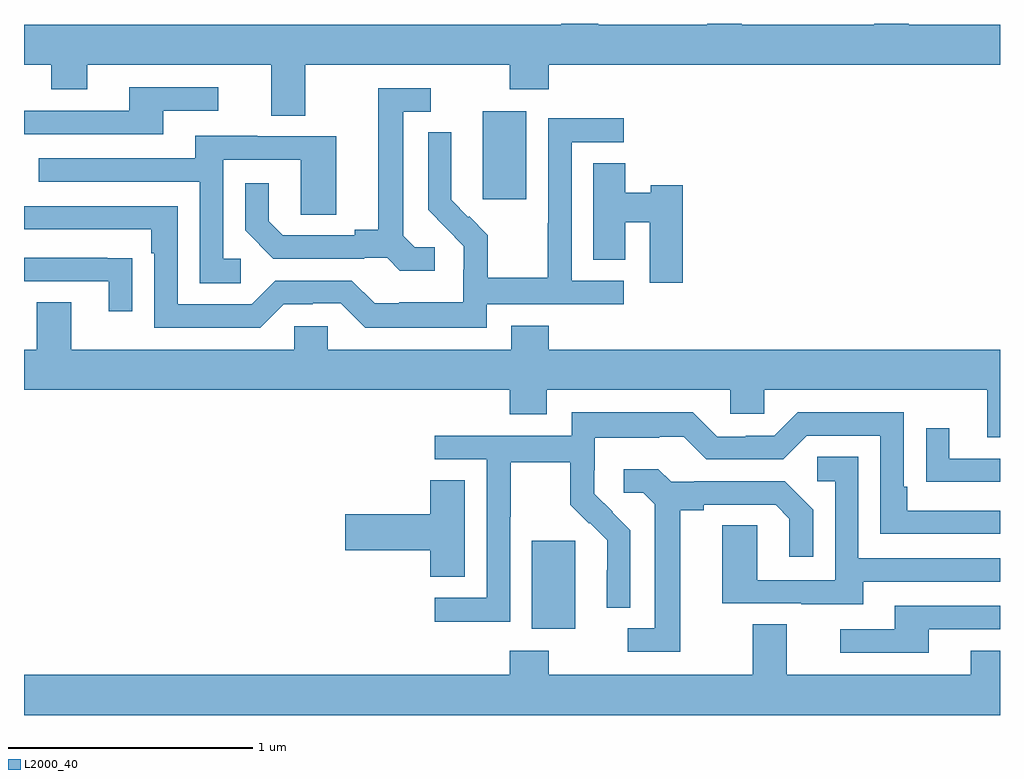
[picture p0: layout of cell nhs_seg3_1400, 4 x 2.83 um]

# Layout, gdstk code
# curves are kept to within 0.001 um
import gdstk
lib = gdstk.Library(unit=1e-6, precision=1e-09)
def R(c, l, rs):  # rectangles x0, y0, x1, y1
    for r in rs: c.add(gdstk.rectangle(r[:2], r[2:], *l))
def P(c, l, *ps):  # polygons
    for p in ps: c.add(gdstk.Polygon(p, *l))
L2000_40 = (2000, 40)

nhs_seg3_1400 = lib.new_cell('nhs_seg3_1400')
R(nhs_seg3_1400, L2000_40, [(185.081,715.922,185.26,716.283), (184.88,717.681,185.059,718.042)])
P(nhs_seg3_1400, L2000_40, [(184.153,718.232),(184.99,718.232),(184.99,718.133),(185.15,718.133),(185.15,718.232),(187,718.232),(187,718.396),(186.625,718.396),(186.625,718.4),(186.485,718.4),(186.485,718.396),(185.941,718.396),(185.941,718.4),(185.801,718.4),(185.801,718.396),(185.353,718.396),(185.353,718.4),(185.201,718.4),(185.201,718.396),(183,718.396),(183,718.232),(183.112,718.232),(183.112,718.133),(183.259,718.133),(183.259,718.232),(184.013,718.232),(184.013,718.024),(184.153,718.024)],
  [(183.571,718.044),(183.796,718.044),(183.796,718.14),(183.431,718.14),(183.431,718.044),(183,718.044),(183,717.948),(183.571,717.948)],
  [(184.684,717.486),(184.602,717.486),(184.555,717.533),(184.555,718.041),(184.666,718.041),(184.666,718.137),(184.451,718.137),(184.451,717.557),(184.355,717.557),(184.355,717.534),(184.06,717.534),(184.003,717.591),(184.003,717.748),(183.906,717.748),(183.906,717.554),(184.022,717.438),(184.394,717.438),(184.394,717.441),(184.488,717.441),(184.54,717.389),(184.684,717.389)],
  [(184.896,717.252),(185.458,717.252),(185.458,717.348),(185.244,717.348),(185.244,717.915),(185.458,717.915),(185.458,718.014),(185.148,718.014),(185.148,717.584),(185.146,717.584),(185.146,717.361),(184.901,717.361),(184.901,717.535),(184.824,717.612),(184.821,717.609),(184.751,717.68),(184.752,717.956),(184.656,717.956),(184.656,717.638),(184.802,717.49),(184.802,717.393),(184.8,717.393),(184.8,717.259),(184.537,717.259),(184.537,717.255),(184.437,717.255),(184.344,717.348),(184.029,717.348),(183.933,717.252),(183.63,717.252),(183.63,717.654),(183,717.654),(183,717.558),(183.521,717.558),(183.521,717.461),(183.534,717.461),(183.534,717.156),(183.969,717.156),(184.065,717.252),(184.184,717.252),(184.184,717.255),(184.299,717.255),(184.399,717.155),(184.896,717.155)],
  [(183.889,717.438),(183.816,717.438),(183.816,717.843),(184.134,717.843),(184.134,717.619),(184.279,717.619),(184.279,717.939),(183.955,717.939),(183.955,717.943),(183.701,717.943),(183.701,717.849),(183.061,717.849),(183.061,717.753),(183.72,717.753),(183.72,717.337),(183.889,717.337)],
  [(185.699,717.74),(185.568,717.74),(185.568,717.709),(185.464,717.709),(185.464,717.83),(185.333,717.83),(185.333,717.433),(185.464,717.433),(185.464,717.587),(185.564,717.587),(185.564,717.339),(185.699,717.339)],
  [(183.443,717.44),(183.341,717.44),(183.341,717.441),(183,717.441),(183,717.345),(183.347,717.345),(183.347,717.222),(183.443,717.222)],
  [(187,717.064),(185.15,717.064),(185.15,717.163),(184.997,717.163),(184.997,717.064),(184.245,717.064),(184.245,717.162),(184.107,717.162),(184.107,717.064),(183.193,717.064),(183.193,717.259),(183.053,717.259),(183.053,717.064),(183,717.064),(183,716.9),(184.991,716.9),(184.991,716.801),(185.143,716.801),(185.143,716.9),(185.895,716.9),(185.895,716.802),(186.033,716.802),(186.033,716.9),(186.947,716.9),(186.947,716.706),(187,716.706)],
  [(184.992,716.38),(184.995,716.38),(184.995,716.604),(185.239,716.604),(185.239,716.429),(185.316,716.352),(185.319,716.355),(185.39,716.285),(185.39,716.162),(185.388,716.162),(185.388,716.008),(185.484,716.008),(185.484,716.326),(185.338,716.474),(185.338,716.571),(185.34,716.571),(185.34,716.705),(185.603,716.705),(185.603,716.709),(185.703,716.709),(185.796,716.616),(186.111,716.616),(186.207,716.712),(186.51,716.712),(186.51,716.31),(187,716.31),(187,716.406),(186.619,716.406),(186.619,716.503),(186.606,716.503),(186.606,716.808),(186.171,716.808),(186.075,716.712),(185.957,716.712),(185.957,716.709),(185.841,716.709),(185.741,716.809),(185.244,716.809),(185.244,716.712),(184.683,716.712),(184.683,716.616),(184.896,716.616),(184.896,716.049),(184.683,716.049),(184.683,715.951),(184.992,715.951)],
  [(187,716.619),(186.793,716.619),(186.793,716.743),(186.697,716.743),(186.697,716.524),(186.799,716.524),(186.799,716.523),(187,716.523)],
  [(186.439,716.115),(187,716.115),(187,716.211),(186.42,716.211),(186.42,716.627),(186.252,716.627),(186.252,716.526),(186.324,716.526),(186.324,716.121),(186.006,716.121),(186.006,716.345),(185.861,716.345),(185.861,716.025),(186.185,716.025),(186.185,716.021),(186.439,716.021)],
  [(185.689,716.408),(185.785,716.408),(185.785,716.43),(186.08,716.43),(186.137,716.373),(186.137,716.217),(186.234,716.217),(186.234,716.41),(186.118,716.526),(185.746,716.526),(185.746,716.523),(185.652,716.523),(185.6,716.575),(185.457,716.575),(185.457,716.478),(185.538,716.478),(185.585,716.431),(185.585,715.923),(185.475,715.923),(185.475,715.827),(185.689,715.827)],
  [(184.807,716.531),(184.664,716.531),(184.664,716.39),(184.317,716.39),(184.317,716.243),(184.664,716.243),(184.664,716.134),(184.807,716.134)],
  [(186.709,715.92),(187,715.92),(187,716.016),(186.569,716.016),(186.569,715.92),(186.345,715.92),(186.345,715.824),(186.709,715.824)],
  [(187,715.831),(186.881,715.831),(186.881,715.732),(186.127,715.732),(186.127,715.94),(185.987,715.94),(185.987,715.732),(185.151,715.732),(185.151,715.831),(184.991,715.831),(184.991,715.732),(183,715.732),(183,715.568),(187,715.568)])

lib.write_gds('nhs_seg3_1400.gds')
